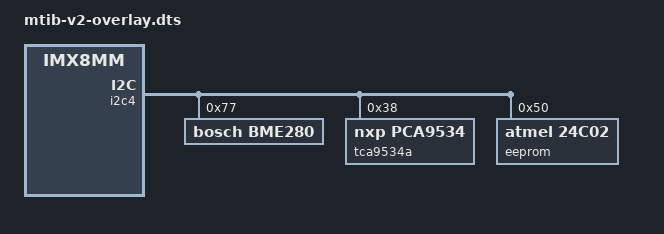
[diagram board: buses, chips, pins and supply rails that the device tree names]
/dts-v1/;
/plugin/;

/*
 * MTIB V2 - CoreKinect Embedded Test Bench
 *
 * Additional I2C devices on i2c4 (Verdin I2C_1) not covered by
 * the existing ina219-overlay.dts.
 *
 * Full MTIB V2 Rev 1.2 I2C device map:
 *
 *   0x19 - LIS2DE12   (ina219-overlay.dts)
 *   0x2F - MCP4017    (userspace I2C - no DTS node needed)
 *   0x38 - TCA9534A   (this overlay, REV 1.2 only)
 *   0x40 - INA219     (ina219-overlay.dts)
 *   0x41 - INA219     (ina219-overlay.dts)
 *   0x48 - ADS1115    (ina219-overlay.dts)
 *   0x49 - ADS1115    (ina219-overlay.dts)
 *   0x50 - AT24C02C   (this overlay, REV 1.2 only)
 *   0x76 - BMP390L    (userspace I2C - no DTS node needed)
 *   0x77 - BME280     (this overlay)
 */

/ {
	compatible = "toradex,verdin-imx8mm";
};

&i2c4 {
	#address-cells = <1>;
	#size-cells = <0>;
	status = "okay";

	/* BME280 - pressure / humidity / temperature */
	bme280: pressure@77 {
		compatible = "bosch,bme280";
		reg = <0x77>;
		status = "okay";
	};

	/* TCA9534A 8-bit GPIO expander (REV 1.2 only)
	 * P0 = JLINK_MUL (J-Link mux select)
	 * P1 = EEPROM WP
	 * P2 = VMM_EN (motor power enable)
	 * P3-P7 = reserved
	 *
	 * On REV 1.1 this device is absent; the probe will
	 * fail gracefully and the node is ignored.
	 */
	tca9534a: gpio@38 {
		compatible = "nxp,pca9534";
		reg = <0x38>;
		gpio-controller;
		#gpio-cells = <2>;
		status = "okay";
	};

	/* AT24C02C 2Kbit EEPROM - board ID (REV 1.2 only)
	 *
	 * NOTE: 0x50 is also used by the Mallow display-adapter
	 * EEPROM. On MTIB builds the display adapter is not
	 * populated, so the address is available for the
	 * on-board EEPROM.
	 */
	eeprom: eeprom@50 {
		compatible = "atmel,24c02";
		reg = <0x50>;
		pagesize = <8>;
		status = "okay";
	};
};
